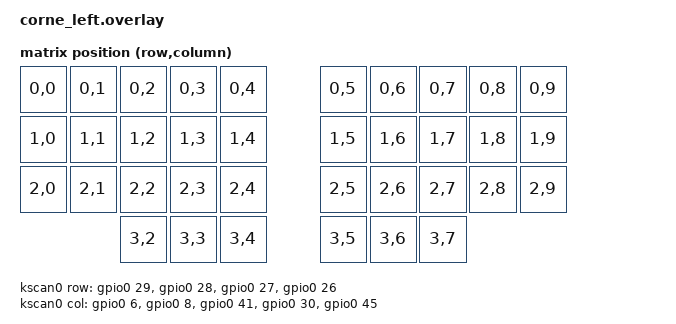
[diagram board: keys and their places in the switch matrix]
#include <dt-bindings/led/led.h>

/ {
    default_transform: default_transform {
        compatible = "zmk,matrix-transform";
        rows = <4>;
        columns = <10>;
        map = <
            RC(0,0) RC(0,1) RC(0,2) RC(0,3) RC(0,4)  RC(0,5) RC(0,6) RC(0,7) RC(0,8) RC(0,9)
            RC(1,0) RC(1,1) RC(1,2) RC(1,3) RC(1,4)  RC(1,5) RC(1,6) RC(1,7) RC(1,8) RC(1,9)
            RC(2,0) RC(2,1) RC(2,2) RC(2,3) RC(2,4)  RC(2,5) RC(2,6) RC(2,7) RC(2,8) RC(2,9)
                                    RC(3,2) RC(3,3) RC(3,4)  RC(3,5) RC(3,6) RC(3,7)
        >;
    };

    soft_off: soft_off {
        compatible = "zmk,soft-off";
        hold-time-ms = <3000>;
    };

    vbatt0: vbatt {
        compatible = "zmk,battery-nrf-vddh";
    };

    kscan0: kscan {
        compatible = "zmk,kscan-gpio-matrix";

        row-gpios =
            <&gpio0 29 (GPIO_ACTIVE_HIGH | GPIO_PULL_DOWN)>,
            <&gpio0 28 (GPIO_ACTIVE_HIGH | GPIO_PULL_DOWN)>,
            <&gpio0 27 (GPIO_ACTIVE_HIGH | GPIO_PULL_DOWN)>,
            <&gpio0 26 (GPIO_ACTIVE_HIGH | GPIO_PULL_DOWN)>;

        col-gpios =
            <&gpio0 6  GPIO_ACTIVE_HIGH>,
            <&gpio0 8  GPIO_ACTIVE_HIGH>,
            <&gpio0 41 GPIO_ACTIVE_HIGH>,
            <&gpio0 30 GPIO_ACTIVE_HIGH>,
            <&gpio0 45 GPIO_ACTIVE_HIGH>;

        diode-direction = "col2row";
        wakeup-source;
    };

    chosen {
        zmk,matrix-transform = &default_transform;
        zmk,studio-rpc-uart = &uart0;
        zmk,battery = &vbatt0;
        zephyr,display = &oled_left;
        zmk,underglow = &led_strip;
    };
};

/* 128x32 SSD1306 display on I2C0 @ 0x3c */
&i2c0 {
    status = "okay";

    oled_left: ssd1306@3c {
        compatible = "solomon,ssd1306fb";
        reg = <0x3c>;
        width = <128>;
        height = <32>;
        segment-offset = <0>;
        page-offset = <0>;
        display-offset = <0>;
        multiplex-ratio = <31>;
        segment-remap;
        com-invdir;
        prechargep = <0x22>;
    };
};

&uart0 {
    status = "okay";
    current-speed = <115200>;
};

/*
 * SPI3 + WS2812 LED strip for per-key and underglow LEDs.
 * Data pin: Nice!Nano v2 P0.06 (Pro Micro D1/MOSI).
 * chain-length: 18 per-key + 6 underglow = 24 total per half.
 */
&pinctrl {
    spi3_default: spi3_default {
        group1 {
            psels = <NRF_PSEL(SPIM_MOSI, 0, 6)>;
        };
    };

    spi3_sleep: spi3_sleep {
        group1 {
            psels = <NRF_PSEL(SPIM_MOSI, 0, 6)>;
            low-power-enable;
        };
    };
};

&spi3 {
    compatible = "nordic,nrf-spim";
    status = "okay";
    pinctrl-0 = <&spi3_default>;
    pinctrl-1 = <&spi3_sleep>;
    pinctrl-names = "default", "sleep";

    led_strip: ws2812@0 {
        compatible = "worldsemi,ws2812-spi";
        reg = <0>;
        spi-max-frequency = <4000000>;
        chain-length = <24>; /* 18 per-key + 6 underglow */
        spi-one-frame = <0x70>;
        spi-zero-frame = <0x40>;
        color-mapping =
            <LED_COLOR_ID_GREEN
             LED_COLOR_ID_RED
             LED_COLOR_ID_BLUE>;
    };
};
